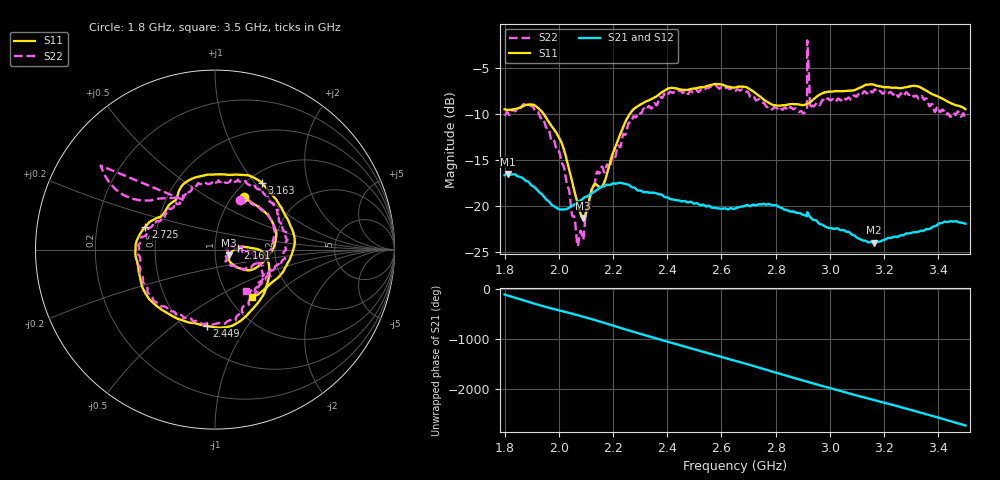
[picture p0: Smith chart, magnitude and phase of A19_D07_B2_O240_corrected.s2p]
! Created with skrf 1.9.0 (http://scikit-rf.org).
# Hz S RI R 50.0
!freq ReS11 ImS11 ReS21 ImS21 ReS12 ImS12 ReS22 ImS22
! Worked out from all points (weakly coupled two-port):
!   1601 points, 1.8 GHz to 3.5 GHz, reference 50 ohm
!   highest |S21| = -16.56 dB at 1.812 GHz (marker M1); lowest = -24.0 dB at 3.162 GHz (marker M2)
!   lowest |S11| = -21.3 dB at 2.09 GHz (marker M3), VSWR 1.19, Z = 58.5 - j3.87 ohm
!   |S11| at or under -10 dB: 1.943 GHz to 2.263 GHz (319.4 MHz wide, 15.2 % of centre)
!   |S22| runs from -24.4 to -2.0 dB; largest |S21 - S12| = 0.0028
!   S11 on the Smith chart (normalised r, x): 1.8 GHz: 1.13, +0.74; 2.161 GHz: 1.29, +0.02; 2.449 GHz: 0.64, -0.67; 2.725 GHz: 0.43, +0.13; 3.163 GHz: 1.15, +1.09; 3.5 GHz: 1.28, -0.75
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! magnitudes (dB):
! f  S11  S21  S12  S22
! 1.8 GHz  -9.5  -16.7  -16.7  -10.2
! 1.812 GHz  -9.6  -16.6  -16.6  -9.9
! 1.884 GHz  -9.0  -17.3  -17.4  -9.0
! 1.941 GHz  -9.9  -18.9  -18.9  -10.5
! 2.013 GHz  -13.4  -20.4  -20.4  -15.4
! 2.067 GHz  -19.5  -19.6  -19.7  -24.0
! 2.084 GHz  -21.1  -19.4  -19.3  -23.0
! 2.09 GHz  -21.3  -19.2  -19.2  -23.7
! 2.127 GHz  -17.8  -18.6  -18.6  -17.9
! 2.161 GHz  -17.8  -17.9  -17.9  -15.8
! 2.259 GHz  -10.2  -17.8  -17.8  -11.0
! 2.367 GHz  -8.0  -18.7  -18.7  -8.5
! 2.449 GHz  -7.4  -19.5  -19.5  -7.5
! 2.65 GHz  -7.2  -20.3  -20.3  -7.6
! 2.725 GHz  -7.8  -20.0  -20.0  -8.5
! 2.903 GHz  -9.1  -21.0  -21.0  -10.0
! 2.925 GHz  -8.8  -21.2  -21.2  -7.5
! 2.934 GHz  -8.6  -21.4  -21.4  -9.1
! 3.162 GHz  -6.8  -24.0  -24.0  -7.5
! 3.163 GHz  -6.8  -24.0  -24.0  -7.4
! 3.217 GHz  -7.1  -23.5  -23.5  -7.8
! 3.5 GHz  -9.5  -22.0  -22.0  -10.7
